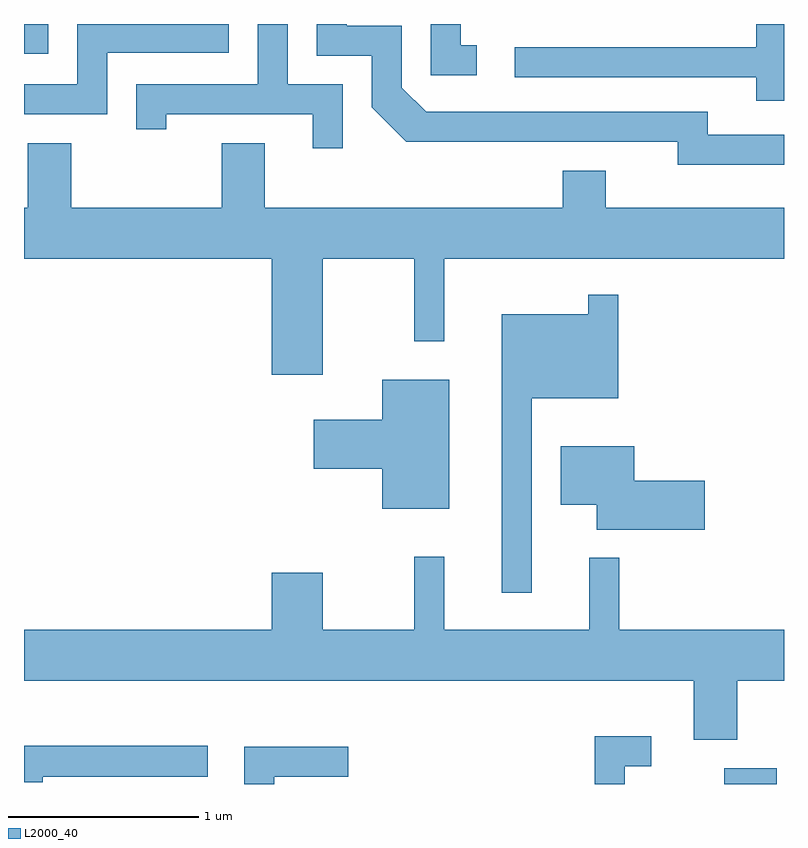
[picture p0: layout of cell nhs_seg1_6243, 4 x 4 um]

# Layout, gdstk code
import gdstk
lib = gdstk.Library(unit=1e-6, precision=1e-09)
def R(c, l, rs):  # rectangles x0, y0, x1, y1
    for r in rs: c.add(gdstk.rectangle(r[:2], r[2:], *l))
def P(c, l, *ps):  # polygons
    for p in ps: c.add(gdstk.Polygon(p, *l))
L2000_40 = (2000, 40)

nhs_seg1_6243 = lib.new_cell('nhs_seg1_6243')
R(nhs_seg1_6243, L2000_40, [(377.296,885.712,377.574,885.794), (373.611,889.556,373.739,889.712)])
P(nhs_seg1_6243, L2000_40, [(375.289,889.394),(374.999,889.394),(374.999,889.712),(374.841,889.712),(374.841,889.394),(374.201,889.394),(374.201,889.158),(374.359,889.158),(374.359,889.236),(375.131,889.236),(375.131,889.058),(375.289,889.058)],
  [(374.049,889.561),(374.689,889.561),(374.689,889.712),(373.891,889.712),(373.891,889.394),(373.611,889.394),(373.611,889.236),(374.049,889.236)],
  [(375.993,889.599),(375.909,889.599),(375.909,889.712),(375.751,889.712),(375.751,889.441),(375.993,889.441)],
  [(377.611,889.712),(377.466,889.712),(377.466,889.589),(376.193,889.589),(376.193,889.431),(377.466,889.431),(377.466,889.308),(377.611,889.308)],
  [(377.611,889.129),(377.209,889.129),(377.209,889.249),(375.727,889.249),(375.599,889.377),(375.599,889.704),(375.309,889.704),(375.309,889.712),(375.151,889.712),(375.151,889.546),(375.441,889.546),(375.441,889.274),(375.624,889.091),(377.051,889.091),(377.051,888.971),(377.611,888.971)],
  [(374.651,889.084),(374.651,888.744),(373.859,888.744),(373.859,889.084),(373.631,889.084),(373.631,888.744),(373.611,888.744),(373.611,888.476),(374.916,888.476),(374.916,887.866),(375.184,887.866),(375.184,888.476),(375.666,888.476),(375.666,888.043),(375.824,888.043),(375.824,888.476),(377.611,888.476),(377.611,888.744),(376.674,888.744),(376.674,888.939),(376.446,888.939),(376.446,888.744),(374.879,888.744),(374.879,889.084)],
  [(376.284,887.741),(376.739,887.741),(376.739,888.288),(376.581,888.288),(376.581,888.184),(376.126,888.184),(376.126,886.718),(376.284,886.718)],
  [(375.849,887.839),(375.496,887.839),(375.496,887.629),(375.136,887.629),(375.136,887.371),(375.496,887.371),(375.496,887.161),(375.849,887.161)],
  [(377.194,887.309),(376.824,887.309),(376.824,887.489),(376.436,887.489),(376.436,887.181),(376.626,887.181),(376.626,887.051),(377.194,887.051)],
  [(377.364,886.256),(377.611,886.256),(377.611,886.524),(376.744,886.524),(376.744,886.903),(376.586,886.903),(376.586,886.524),(375.824,886.524),(375.824,886.908),(375.666,886.908),(375.666,886.524),(375.184,886.524),(375.184,886.824),(374.916,886.824),(374.916,886.524),(373.611,886.524),(373.611,886.256),(377.136,886.256),(377.136,885.946),(377.364,885.946)],
  [(376.774,885.806),(376.913,885.806),(376.913,885.964),(376.616,885.964),(376.616,885.712),(376.774,885.712)],
  [(373.709,885.751),(374.578,885.751),(374.578,885.914),(373.611,885.914),(373.611,885.721),(373.709,885.721)],
  [(374.929,885.751),(375.318,885.751),(375.318,885.909),(374.771,885.909),(374.771,885.712),(374.929,885.712)])

lib.write_gds('nhs_seg1_6243.gds')
